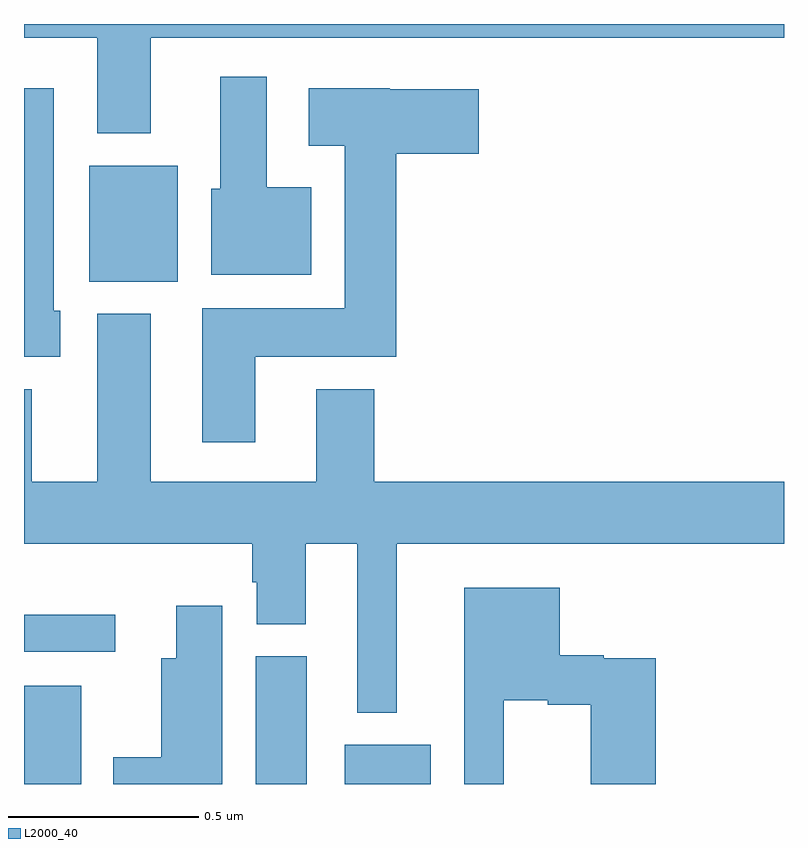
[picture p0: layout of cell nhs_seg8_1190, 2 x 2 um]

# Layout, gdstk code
import gdstk
lib = gdstk.Library(unit=1e-6, precision=1e-09)
def R(c, l, rs):  # rectangles x0, y0, x1, y1
    for r in rs: c.add(gdstk.rectangle(r[:2], r[2:], *l))
def P(c, l, *ps):  # polygons
    for p in ps: c.add(gdstk.Polygon(p, *l))
L2000_40 = (2000, 40)

nhs_seg8_1190 = lib.new_cell('nhs_seg8_1190')
R(nhs_seg8_1190, L2000_40, [(127,1083.9,127.15,1084.159), (127.61,1083.9,127.744,1084.236), (127.844,1083.9,128.071,1084.003), (127,1084.248,127.24,1084.346), (127.172,1085.222,127.405,1085.527)])
P(nhs_seg8_1190, L2000_40, [(127.333,1085.864),(129,1085.864),(129,1085.9),(127,1085.9),(127,1085.864),(127.193,1085.864),(127.193,1085.612),(127.333,1085.612)],
  [(127.756,1085.47),(127.639,1085.47),(127.639,1085.761),(127.517,1085.761),(127.517,1085.466),(127.493,1085.466),(127.493,1085.24),(127.756,1085.24)],
  [(127.096,1085.145),(127.078,1085.145),(127.078,1085.731),(127,1085.731),(127,1085.024),(127.096,1085.024)],
  [(127.609,1085.024),(127.979,1085.024),(127.979,1085.558),(128.197,1085.558),(128.197,1085.728),(127.962,1085.728),(127.962,1085.731),(127.749,1085.731),(127.749,1085.579),(127.844,1085.579),(127.844,1085.152),(127.469,1085.152),(127.469,1084.8),(127.609,1084.8)],
  [(127.981,1084.532),(129,1084.532),(129,1084.696),(127.922,1084.696),(127.922,1084.939),(127.769,1084.939),(127.769,1084.696),(127.333,1084.696),(127.333,1085.137),(127.193,1085.137),(127.193,1084.696),(127.021,1084.696),(127.021,1084.939),(127,1084.939),(127,1084.532),(127.601,1084.532),(127.601,1084.431),(127.613,1084.431),(127.613,1084.321),(127.741,1084.321),(127.741,1084.532),(127.877,1084.532),(127.877,1084.088),(127.981,1084.088)],
  [(128.263,1084.121),(128.378,1084.121),(128.378,1084.109),(128.492,1084.109),(128.492,1083.9),(128.663,1083.9),(128.663,1084.231),(128.526,1084.231),(128.526,1084.239),(128.41,1084.239),(128.41,1084.417),(128.159,1084.417),(128.159,1083.9),(128.263,1083.9)],
  [(127.522,1084.369),(127.4,1084.369),(127.4,1084.231),(127.361,1084.231),(127.361,1083.97),(127.235,1083.97),(127.235,1083.9),(127.522,1083.9)])

lib.write_gds('nhs_seg8_1190.gds')
